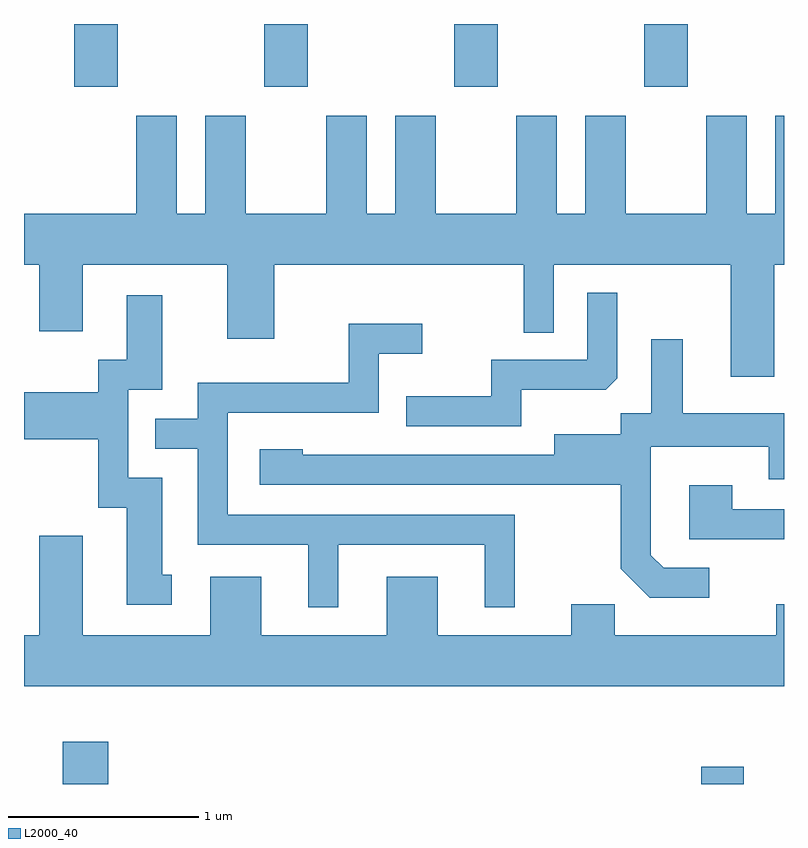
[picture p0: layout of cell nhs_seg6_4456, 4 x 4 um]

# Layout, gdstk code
import gdstk
lib = gdstk.Library(unit=1e-6, precision=1e-09)
def R(c, l, rs):  # rectangles x0, y0, x1, y1
    for r in rs: c.add(gdstk.rectangle(r[:2], r[2:], *l))
def A(c, l, x, y, w, h, nx, ny, dx, dy):  # array of equal rectangles
    R(c, l, [(x+i*dx, y+j*dy, x+i*dx+w, y+j*dy+h) for i in range(nx) for j in range(ny)])
def P(c, l, *ps):  # polygons
    for p in ps: c.add(gdstk.Polygon(p, *l))
L2000_40 = (2000, 40)

nhs_seg6_4456 = lib.new_cell('nhs_seg6_4456')
A(nhs_seg6_4456, L2000_40, 321.876, 1579.831, 0.228, 0.331, 4, 1, 1, 0)
R(nhs_seg6_4456, L2000_40, [(321.816,1576.162,322.054,1576.384), (325.176,1576.162,325.399,1576.254)])
P(nhs_seg6_4456, L2000_40, [(325.559,1578.896),(325.611,1578.896),(325.611,1579.679),(325.566,1579.679),(325.566,1579.164),(325.414,1579.164),(325.414,1579.679),(325.201,1579.679),(325.201,1579.164),(324.779,1579.164),(324.779,1579.679),(324.566,1579.679),(324.566,1579.164),(324.414,1579.164),(324.414,1579.679),(324.201,1579.679),(324.201,1579.164),(323.779,1579.164),(323.779,1579.679),(323.566,1579.679),(323.566,1579.164),(323.414,1579.164),(323.414,1579.679),(323.201,1579.679),(323.201,1579.164),(322.779,1579.164),(322.779,1579.679),(322.566,1579.679),(322.566,1579.164),(322.414,1579.164),(322.414,1579.679),(322.201,1579.679),(322.201,1579.164),(321.611,1579.164),(321.611,1578.896),(321.691,1578.896),(321.691,1578.546),(321.919,1578.546),(321.919,1578.896),(322.681,1578.896),(322.681,1578.506),(322.929,1578.506),(322.929,1578.896),(324.241,1578.896),(324.241,1578.538),(324.399,1578.538),(324.399,1578.896),(325.331,1578.896),(325.331,1578.306),(325.559,1578.306)],
  [(324.229,1578.236),(324.674,1578.236),(324.734,1578.297),(324.734,1578.748),(324.576,1578.748),(324.576,1578.394),(324.071,1578.394),(324.071,1578.204),(323.623,1578.204),(323.623,1578.046),(324.229,1578.046)],
  [(322.388,1577.264),(322.339,1577.264),(322.339,1577.774),(322.159,1577.774),(322.159,1578.236),(322.339,1578.236),(322.339,1578.734),(322.151,1578.734),(322.151,1578.394),(322.001,1578.394),(322.001,1578.224),(321.611,1578.224),(321.611,1577.976),(322.001,1577.976),(322.001,1577.616),(322.151,1577.616),(322.151,1577.106),(322.388,1577.106)],
  [(323.264,1577.421),(324.036,1577.421),(324.036,1577.093),(324.194,1577.093),(324.194,1577.579),(322.684,1577.579),(322.684,1578.116),(323.479,1578.116),(323.479,1578.426),(323.708,1578.426),(323.708,1578.584),(323.321,1578.584),(323.321,1578.274),(322.526,1578.274),(322.526,1578.084),(322.303,1578.084),(322.303,1577.926),(322.526,1577.926),(322.526,1577.421),(323.106,1577.421),(323.106,1577.093),(323.264,1577.093)],
  [(325.218,1577.299),(324.977,1577.299),(324.909,1577.367),(324.909,1577.936),(325.531,1577.936),(325.531,1577.766),(325.611,1577.766),(325.611,1578.114),(325.079,1578.114),(325.079,1578.503),(324.911,1578.503),(324.911,1578.114),(324.751,1578.114),(324.751,1578.004),(324.401,1578.004),(324.401,1577.894),(323.079,1577.894),(323.079,1577.924),(322.851,1577.924),(322.851,1577.736),(324.751,1577.736),(324.751,1577.294),(324.904,1577.141),(325.218,1577.141)],
  [(325.611,1577.609),(325.339,1577.609),(325.339,1577.734),(325.111,1577.734),(325.111,1577.451),(325.611,1577.451)],
  [(325.611,1577.109),(325.571,1577.109),(325.571,1576.944),(324.719,1576.944),(324.719,1577.109),(324.491,1577.109),(324.491,1576.944),(323.789,1576.944),(323.789,1577.254),(323.521,1577.254),(323.521,1576.944),(322.859,1576.944),(322.859,1577.254),(322.591,1577.254),(322.591,1576.944),(321.919,1576.944),(321.919,1577.469),(321.691,1577.469),(321.691,1576.944),(321.611,1576.944),(321.611,1576.676),(325.611,1576.676)])

lib.write_gds('nhs_seg6_4456.gds')
